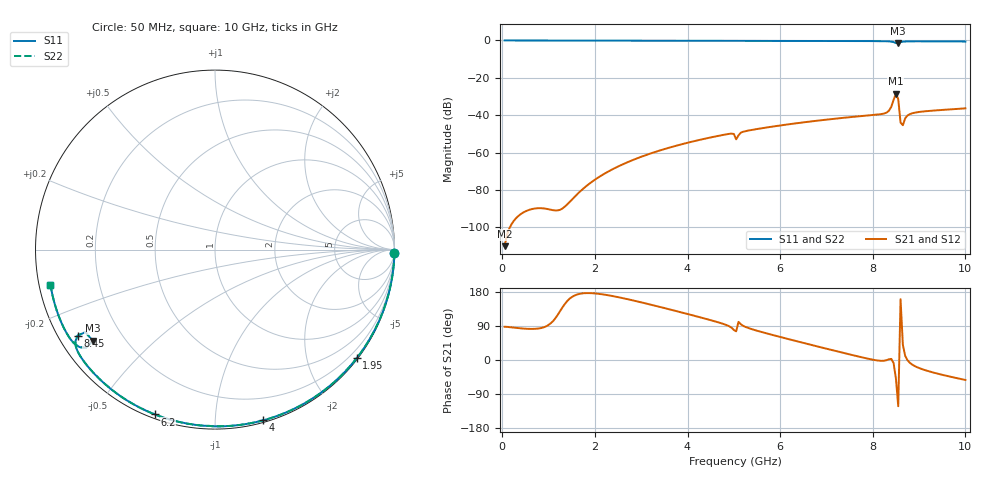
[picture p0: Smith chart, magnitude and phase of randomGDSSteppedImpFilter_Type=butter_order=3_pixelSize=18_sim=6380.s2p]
! freq	dB(S11)	phase(S11)	dB(S12)	phase(S12)
!  dB(S21)	phase(S21)	dB(S22)	phase(S22)
!S-par simulation data
#  GHz  S  DB  R 50
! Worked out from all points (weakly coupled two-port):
!   200 points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, 50 MHz to 10 GHz, reference 50 ohm
!   highest |S21| = -28.41 dB at 8.5 GHz (marker M1); lowest = -110.1 dB at 50 MHz (marker M2)
!   lowest |S11| = -1.4 dB at 8.55 GHz (marker M3), VSWR 12.35, Z = 4.49 - j16.5 ohm
!   |S11| at or under -10 dB: nowhere
!   |S22| runs from -1.4 to 0.0 dB; largest |S21 - S12| = 0
!   S11 on the Smith chart (normalised r, x): 50 MHz: open; 1.95 GHz: 0.03, -2.95; 4 GHz: 0.02, -1.32; 6.2 GHz: 0.02, -0.70; 8.45 GHz: 0.05, -0.29; 10 GHz: 0.03, -0.11
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0.05  -0.00 -1.0  -110.08 87.6  -110.08 87.6  -0.00 -1.0
1.75  -0.04 -33.7  -79.26 176.1  -79.26 176.1  -0.04 -33.7
1.95  -0.05 -37.4  -75.38 176.2  -75.38 176.2  -0.05 -37.4
2.6  -0.06 -49.4  -66.29 163.3  -66.29 163.3  -0.06 -49.4
3.4  -0.08 -63.7  -58.88 140.2  -58.88 140.2  -0.08 -63.7
4  -0.10 -74.1  -54.75 121.4  -54.75 121.4  -0.10 -74.1
4.95  -0.14 -90.1  -49.84 85.3  -49.84 85.3  -0.14 -90.1
5  -0.14 -90.9  -50.02 79.2  -50.02 79.2  -0.14 -90.9
5.05  -0.15 -91.7  -52.92 75.7  -52.92 75.7  -0.15 -91.7
5.2  -0.15 -94.1  -48.85 90.3  -48.85 90.3  -0.15 -94.1
6.2  -0.20 -110.1  -44.80 54.5  -44.80 54.5  -0.20 -110.1
6.7  -0.23 -117.9  -43.23 39.0  -43.23 39.0  -0.23 -117.9
8.15  -0.37 -141.0  -39.51 -2.0  -39.51 -2.0  -0.37 -141.0
8.35  -0.50 -145.3  -37.59 2.0  -37.59 2.0  -0.50 -145.3
8.45  -0.88 -148.0  -31.79 -8.2  -31.79 -8.2  -0.88 -148.0
8.5  -1.35 -147.5  -28.41 -49.5  -28.41 -49.5  -1.36 -147.5
8.55  -1.41 -143.3  -31.44 -122.0  -31.44 -122.0  -1.41 -143.3
8.6  -0.88 -142.7  -43.97 160.4  -43.97 160.4  -0.88 -142.7
8.65  -0.64 -144.2  -45.35 39.8  -45.35 39.8  -0.63 -144.2
8.7  -0.54 -145.6  -41.64 10.9  -41.64 10.9  -0.54 -145.6
8.85  -0.46 -148.9  -38.99 -12.1  -38.99 -12.1  -0.46 -148.9
10  -0.56 -168.0  -36.33 -52.7  -36.33 -52.7  -0.56 -168.0
